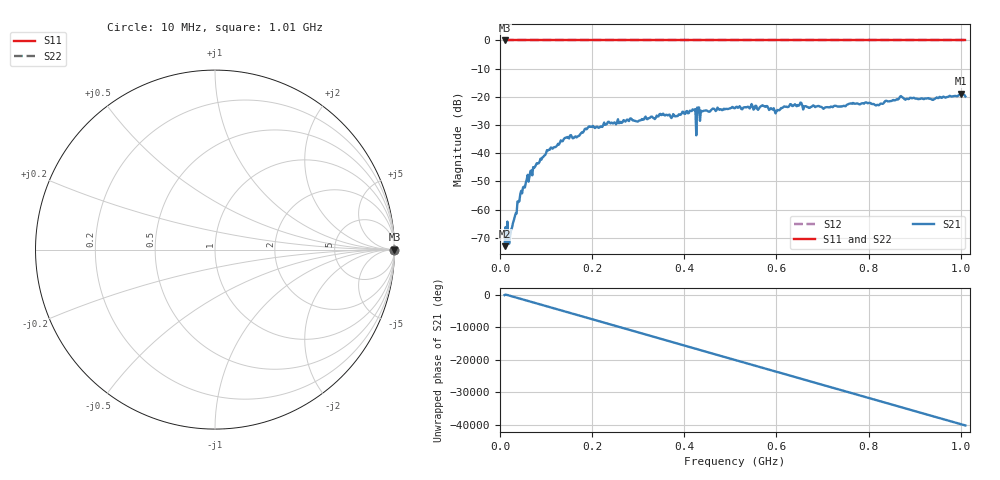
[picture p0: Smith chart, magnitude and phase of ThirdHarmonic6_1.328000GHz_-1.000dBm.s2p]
! 8/16/2025 2:49:33 PM
! C:\ANRITSUVNA\TEMP\TEMP.S2P
! CHANNEL.1
! TR.MEASUREMENT
! RAW.DATA
! RF.CORRECTION.OFF
! AVERAGING.OFF
! IF.BANDWIDTH: 5KHZ
! SWEEPTYPE:  FREQ.SWEEP(Linear)
! Reference Plane Port Info
! PORT:  PORT1  PORT2
! DISTANCE:  0  m  0  m
! TIME:  0  s  0  s
! PHASE.OFFSET:  0  deg.  0  deg.
! LOSS:  0  dB  0  dB
! REF.LOSS:  0  dB  0  dB
! REF.FREQ:  0  Hz  0  Hz
! Power Info
! POWER:  -20  dBm  -20  dBm
! EFF.POWER:  -20  dBm  -20  dBm
! SOURCE.ATTEN:  0  dB  0  dB
! TEST.ATTEN:  0  dB  0  dB
# GHZ S RI R 50.0
! FREQ.GHZ  S11RE  S11IM  S21RE  S21IM  S12RE  S12IM  S22RE  S22IM
!; PortSelection: Port_12
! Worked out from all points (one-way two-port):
!   501 points, 10 MHz to 1.01 GHz, reference 50 ohm
!   highest |S21| = -18.92 dB at 1 GHz (marker M1); lowest = -72.9 dB at 10 MHz (marker M2)
!   lowest |S11| = 0.0 dB at 10 MHz (marker M3)
!   |S11| at or under -10 dB: nowhere
!   |S22| runs from 0.0 to 0.0 dB; largest |S21 - S12| = 1.1
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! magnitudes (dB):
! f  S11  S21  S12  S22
! 10 MHz  0.0  -72.9  0.0  0.0
! 14 MHz  0.0  -71.8  0.0  0.0
! 22 MHz  0.0  -69.3  0.0  0.0
! 48 MHz  0.0  -54.2  0.0  0.0
! 76 MHz  0.0  -44.8  0.0  0.0
! 106 MHz  0.0  -38.7  0.0  0.0
! 178 MHz  0.0  -32.5  0.0  0.0
! 196 MHz  0.0  -30.7  0.0  0.0
! 344 MHz  0.0  -26.9  0.0  0.0
! 382 MHz  0.0  -26.8  0.0  0.0
! 420 MHz  0.0  -24.5  0.0  0.0
! 422 MHz  0.0  -24.8  0.0  0.0
! 430 MHz  0.0  -23.9  0.0  0.0
! 432 MHz  0.0  -23.7  0.0  0.0
! 510 MHz  0.0  -24.0  0.0  0.0
! 570 MHz  0.0  -23.0  0.0  0.0
! 600 MHz  0.0  -25.1  0.0  0.0
! 634 MHz  0.0  -23.2  0.0  0.0
! 678 MHz  0.0  -23.3  0.0  0.0
! 844 MHz  0.0  -21.6  0.0  0.0
! 1 GHz  0.0  -18.9  0.0  0.0
! 1.01 GHz  0.0  -19.9  0.0  0.0
